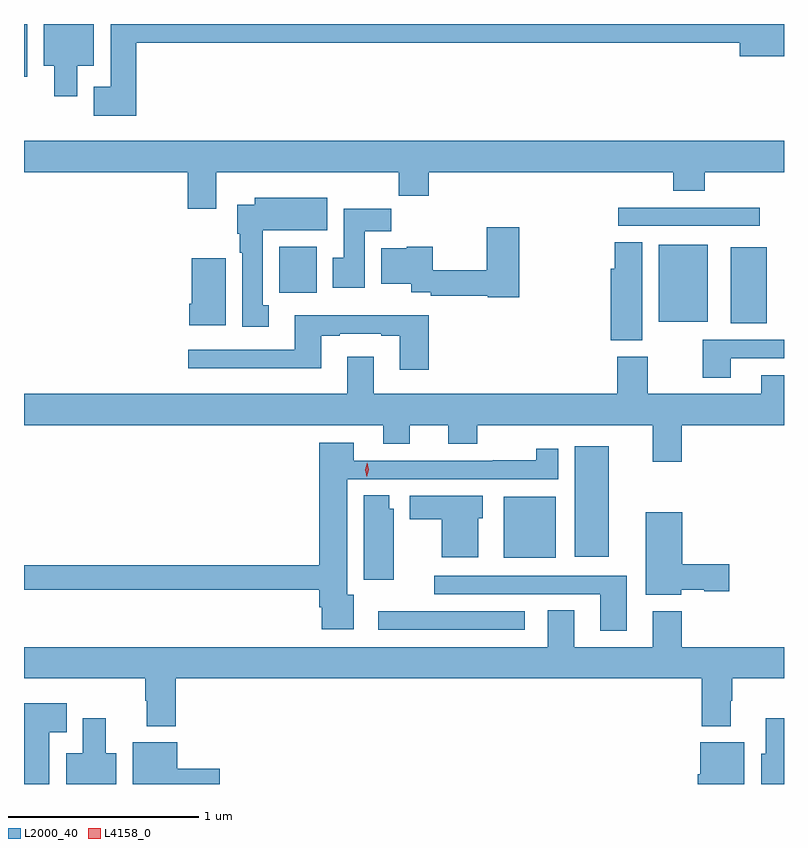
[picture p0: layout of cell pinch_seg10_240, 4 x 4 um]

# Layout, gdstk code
import gdstk
lib = gdstk.Library(unit=1e-6, precision=1e-09)
def R(c, l, rs):  # rectangles x0, y0, x1, y1
    for r in rs: c.add(gdstk.rectangle(r[:2], r[2:], *l))
def P(c, l, *ps):  # polygons
    for p in ps: c.add(gdstk.Polygon(p, *l))
L2000_40 = (2000, 40)
L4158_0 = (4158, 0)

pinch_seg10_240 = lib.new_cell('pinch_seg10_240')
R(pinch_seg10_240, L2000_40, [(592.566,1296.576,593.338,1296.672), (593.228,1296.953,593.5,1297.276), (593.6,1296.959,593.779,1297.54), (594.422,1298.189,594.61,1298.587), (594.044,1298.195,594.301,1298.602), (592.046,1298.348,592.243,1298.59), (593.829,1298.7,594.574,1298.796), (590.702,1299.485,590.719,1299.763)])
P(pinch_seg10_240, L2000_40, [(591.293,1299.664),(594.47,1299.664),(594.47,1299.592),(594.702,1299.592),(594.702,1299.763),(591.158,1299.763),(591.158,1299.433),(591.068,1299.433),(591.068,1299.281),(591.293,1299.281)],
  [(590.983,1299.542),(591.07,1299.542),(591.07,1299.763),(590.807,1299.763),(590.807,1299.542),(590.861,1299.542),(590.861,1299.384),(590.983,1299.384)],
  [(591.715,1298.984),(592.675,1298.984),(592.675,1298.86),(592.832,1298.86),(592.832,1298.984),(594.119,1298.984),(594.119,1298.885),(594.284,1298.885),(594.284,1298.984),(594.702,1298.984),(594.702,1299.148),(590.702,1299.148),(590.702,1298.984),(591.563,1298.984),(591.563,1298.79),(591.715,1298.79)],
  [(591.991,1298.282),(591.958,1298.282),(591.958,1298.678),(592.297,1298.678),(592.297,1298.848),(591.917,1298.848),(591.917,1298.812),(591.824,1298.812),(591.824,1298.658),(591.838,1298.658),(591.838,1298.558),(591.851,1298.558),(591.851,1298.169),(591.991,1298.169)],
  [(592.495,1298.672),(592.634,1298.672),(592.634,1298.79),(592.385,1298.79),(592.385,1298.532),(592.328,1298.532),(592.328,1298.376),(592.495,1298.376)],
  [(593.309,1298.692),(593.138,1298.692),(593.138,1298.468),(592.852,1298.468),(592.852,1298.59),(592.716,1298.59),(592.716,1298.584),(592.583,1298.584),(592.583,1298.396),(592.739,1298.396),(592.739,1298.352),(592.843,1298.352),(592.843,1298.332),(593.142,1298.332),(593.142,1298.324),(593.309,1298.324)],
  [(593.956,1298.615),(593.81,1298.615),(593.81,1298.475),(593.789,1298.475),(593.789,1298.099),(593.956,1298.099)],
  [(591.763,1298.53),(591.584,1298.53),(591.584,1298.29),(591.572,1298.29),(591.572,1298.178),(591.763,1298.178)],
  [(592.832,1298.23),(592.127,1298.23),(592.127,1298.049),(591.567,1298.049),(591.567,1297.952),(592.267,1297.952),(592.267,1298.121),(592.363,1298.121),(592.363,1298.133),(592.583,1298.133),(592.583,1298.121),(592.679,1298.121),(592.679,1297.944),(592.832,1297.944)],
  [(594.421,1298.004),(594.702,1298.004),(594.702,1298.1),(594.274,1298.1),(594.274,1297.902),(594.421,1297.902)],
  [(594.164,1297.652),(594.702,1297.652),(594.702,1297.915),(594.581,1297.915),(594.581,1297.816),(593.985,1297.816),(593.985,1298.011),(593.825,1298.011),(593.825,1297.816),(592.543,1297.816),(592.543,1298.011),(592.403,1298.011),(592.403,1297.816),(590.702,1297.816),(590.702,1297.652),(592.592,1297.652),(592.592,1297.553),(592.732,1297.553),(592.732,1297.652),(592.934,1297.652),(592.934,1297.553),(593.087,1297.553),(593.087,1297.652),(594.011,1297.652),(594.011,1297.458),(594.164,1297.458)],
  [(592.438,1296.76),(592.402,1296.76),(592.402,1297.368),(593.515,1297.368),(593.515,1297.528),(593.398,1297.528),(593.398,1297.466),(593.17,1297.466),(593.17,1297.464),(592.438,1297.464),(592.438,1297.558),(592.256,1297.558),(592.256,1296.914),(590.702,1296.914),(590.702,1296.786),(592.256,1296.786),(592.256,1296.692),(592.268,1296.692),(592.268,1296.578),(592.438,1296.578)],
  [(592.648,1297.212),(592.624,1297.212),(592.624,1297.283),(592.49,1297.283),(592.49,1296.839),(592.648,1296.839)],
  [(593.092,1297.161),(593.116,1297.161),(593.116,1297.279),(592.733,1297.279),(592.733,1297.157),(592.901,1297.157),(592.901,1296.956),(593.092,1296.956)],
  [(594.162,1296.785),(594.282,1296.785),(594.282,1296.778),(594.415,1296.778),(594.415,1296.92),(594.166,1296.92),(594.166,1297.192),(593.975,1297.192),(593.975,1296.758),(594.162,1296.758)],
  [(593.875,1296.858),(592.86,1296.858),(592.86,1296.762),(593.735,1296.762),(593.735,1296.57),(593.875,1296.57)],
  [(591.5,1296.32),(594.269,1296.32),(594.269,1296.068),(594.421,1296.068),(594.421,1296.2),(594.429,1296.2),(594.429,1296.32),(594.702,1296.32),(594.702,1296.484),(594.164,1296.484),(594.164,1296.673),(594.011,1296.673),(594.011,1296.484),(593.599,1296.484),(593.599,1296.677),(593.459,1296.677),(593.459,1296.484),(590.702,1296.484),(590.702,1296.32),(591.34,1296.32),(591.34,1296.2),(591.347,1296.2),(591.347,1296.068),(591.5,1296.068)],
  [(590.836,1296.035),(590.926,1296.035),(590.926,1296.187),(590.702,1296.187),(590.702,1295.763),(590.836,1295.763)],
  [(591.187,1295.926),(591.133,1295.926),(591.133,1296.109),(591.011,1296.109),(591.011,1295.926),(590.924,1295.926),(590.924,1295.763),(591.187,1295.763)],
  [(594.702,1296.109),(594.605,1296.109),(594.605,1295.922),(594.581,1295.922),(594.581,1295.763),(594.702,1295.763)],
  [(591.733,1295.844),(591.508,1295.844),(591.508,1295.983),(591.275,1295.983),(591.275,1295.763),(591.733,1295.763)],
  [(594.493,1295.983),(594.26,1295.983),(594.26,1295.814),(594.248,1295.814),(594.248,1295.763),(594.493,1295.763)])
P(pinch_seg10_240, L4158_0, [(592.506,1297.381),(592.506,1297.381),(592.497,1297.417),(592.509,1297.453),(592.509,1297.453),(592.509,1297.453),(592.517,1297.416),(592.506,1297.381)])

lib.write_gds('pinch_seg10_240.gds')
